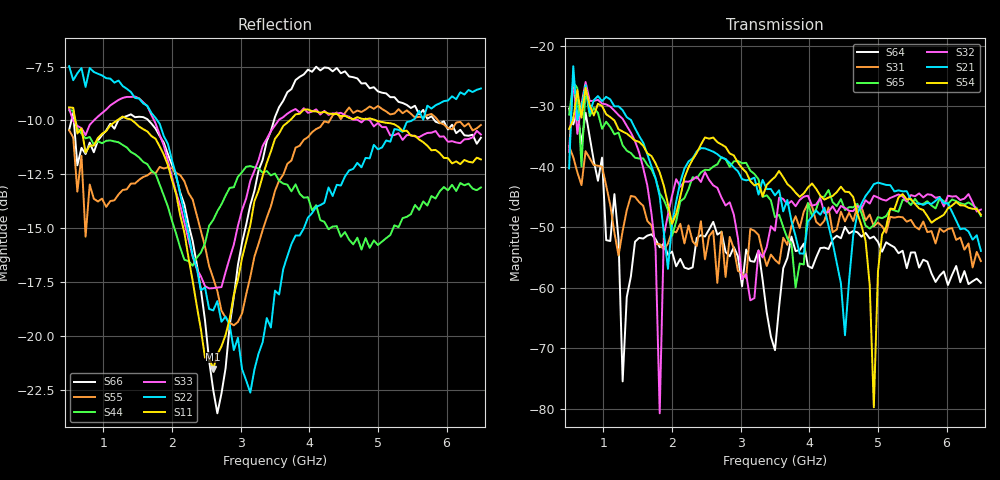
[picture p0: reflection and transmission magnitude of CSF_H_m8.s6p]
!Keysight Technologies,M9804A,MY58100912,A.14.10.03
!Date: Thursday, April 27, 2023 10:28:33
!Correction: S11(C  6-Port  )
!S12(C  6-Port  )
!S13(C  6-Port  )
!S14(C  6-Port  )
!S15(C  6-Port  )
!S16(C  6-Port  )
!S21(C  6-Port  )
!S22(C  6-Port  )
!S23(C  6-Port  )
!S24(C  6-Port  )
!S25(C  6-Port  )
!S26(C  6-Port  )
!S31(C  6-Port  )
!S32(C  6-Port  )
!S33(C  6-Port  )
!S34(C  6-Port  )
!S35(C  6-Port  )
!S36(C  6-Port  )
!S41(C  6-Port  )
!S42(C  6-Port  )
!S43(C  6-Port  )
!S44(C  6-Port  )
!S45(C  6-Port  )
!S46(C  6-Port  )
!S51(C  6-Port  )
!S52(C  6-Port  )
!S53(C  6-Port  )
!S54(C  6-Port  )
!S55(C  6-Port  )
!S56(C  6-Port  )
!S61(C  6-Port  )
!S62(C  6-Port  )
!S63(C  6-Port  )
!S64(C  6-Port  )
!S65(C  6-Port  )
!S66(C  6-Port  )
!S6P File: Measurement: :
# Hz S  RI  R 50
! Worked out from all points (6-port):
!   101 points, 500 MHz to 6.5 GHz, reference 50 ohm
!   strongest paths, dB at 500 MHz, 2 GHz, 3.5 GHz, 5 GHz, 6.5 GHz:
!     S54: -33.7, -49.4, -41.7, -57.4, -47.9
!     S21: -40.3, -49.5, -44.7, -42.6, -53.9
!     S32: -37.5, -44.8, -50.6, -45.1, -47.1
!     S65: -31.4, -51.4, -48.3, -48.3, -48.1
!     S31: -36.6, -50.6, -55.4, -49.2, -55.6
!     S64: -30.4, -54.0, -70.3, -52.4, -59.2
!   lowest |S11| = -21.5 dB at 2.6 GHz (marker M1), VSWR 1.18, Z = 42.5 + j2.17 ohm
!   |S11| at or under -10 dB: 589.5 MHz to 1.197 GHz (607.6 MHz wide, 68 % of centre); 1.419 GHz to 3.715 GHz (2.296 GHz wide, 89.4 % of centre); 4.974 GHz to end of sweep
